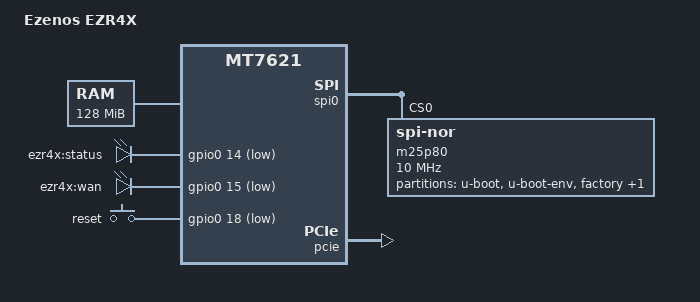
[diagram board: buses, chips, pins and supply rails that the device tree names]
/dts-v1/;

#include "mt7621.dtsi"

#include <dt-bindings/gpio/gpio.h>
#include <dt-bindings/input/input.h>

/ {
	compatible = "EZENOS,EZR4X", "mediatek,mt7621-soc";
	model = "Ezenos EZR4X";

	memory@0 {
		device_type = "memory";
		reg = <0x0 0x8000000>;
	};

	chosen {
		bootargs = "console=ttyS0,57600";
	};

	gpio-leds {
		compatible = "gpio-leds";

		status {
			label = "ezr4x:status";
			gpios = <&gpio0 14 GPIO_ACTIVE_LOW>;
		};
		wan {
			label = "ezr4x:wan";
			gpios = <&gpio0 15 GPIO_ACTIVE_LOW>;
		};
	};

	gpio-keys-polled {
		compatible = "gpio-keys-polled";
		#address-cells = <1>;
		#size-cells = <0>;
		poll-interval = <20>;

		reset {
			label = "reset";
			gpios = <&gpio0 18 GPIO_ACTIVE_LOW>;
			linux,code = <KEY_RESTART>;
		};
	};
};

&spi0 {
	status = "okay";

	m25p80@0 {
		#address-cells = <1>;
		#size-cells = <1>;
		compatible = "jedec,spi-nor";
		reg = <0>;
		spi-max-frequency = <10000000>;
		m25p,chunked-io = <32>;

		partition@0 {
			label = "u-boot";
			reg = <0x0 0x30000>;
			read-only;
		};

		partition@30000 {
			label = "u-boot-env";
			reg = <0x30000 0x10000>;
			read-only;
		};

		factory: partition@40000 {
			label = "factory";
			reg = <0x40000 0x10000>;
			read-only;
		};

		partition@a0000 {
			label = "firmware";
			reg = <0x50000 0xf60000>;
		};
	};
};

&pcie {
	status = "okay";

	pcie0 {
		mt76@0,0 {
			reg = <0x0000 0 0 0 0>;
			device_type = "pci";
			mediatek,mtd-eeprom = <&factory 0x0>;
		};
	};
};

&ethernet {
	mtd-mac-address = <&factory 0xe006>;
};

&pinctrl {
	state_default: pinctrl0 {
		gpio {
			ralink,group = "i2c", "jtag";
			ralink,function = "gpio";
		};
	};
};
